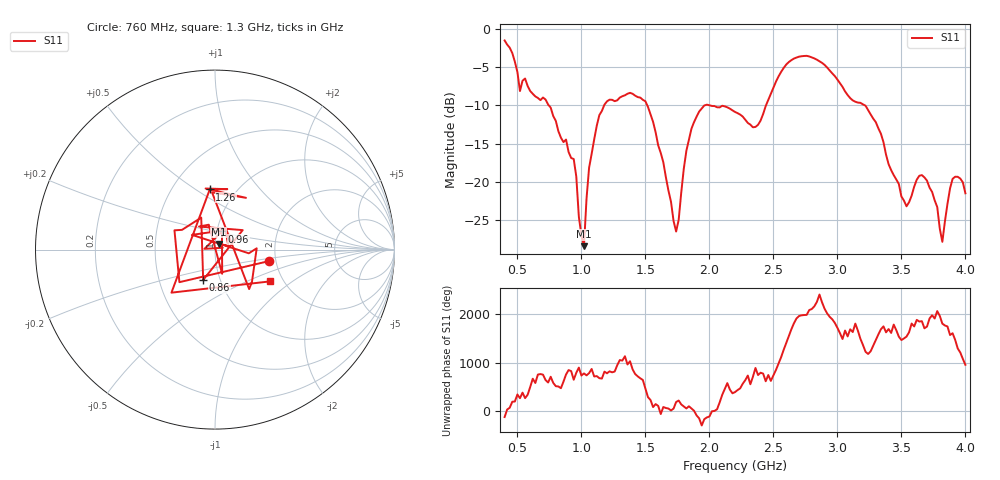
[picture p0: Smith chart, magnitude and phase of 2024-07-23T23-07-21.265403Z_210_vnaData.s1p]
!Created with skrf (http://scikit-rf.org).
# Hz S RI R 50.0
!freq ReS11 ImS11
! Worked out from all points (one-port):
!   181 points, 400 MHz to 4 GHz, reference 50 ohm
!   lowest |S11| = -28.5 dB at 1.02 GHz (marker M1), VSWR 1.08, Z = 52 + j3.28 ohm
!   |S11| at or under -10 dB: 1.514 GHz to 1.964 GHz (449.1 MHz wide, 25.8 % of centre); 2.002 GHz to 2.442 GHz (439.9 MHz wide, 19.8 % of centre); 3.214 GHz to end of sweep (the widest 3 of 4)
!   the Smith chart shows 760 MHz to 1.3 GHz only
!   S11 on the Smith chart (normalised r, x): 760 MHz: 1.83, -0.26; 860 MHz: 0.83, -0.29; 960 MHz: 1.06, +0.22; 1.26 GHz: 0.76, +0.57; 1.3 GHz: 1.71, -0.69
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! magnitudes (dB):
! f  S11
! 400 MHz  -1.5
! 520 MHz  -8.1
! 760 MHz  -10.3
! 860 MHz  -14.8
! 960 MHz  -19.3
! 980 MHz  -24.6
! 1.02 GHz  -28.5
! 1.06 GHz  -18.2
! 1.12 GHz  -12.7
! 1.26 GHz  -9.5
! 1.3 GHz  -9.0
! 1.5 GHz  -9.5
! 1.74 GHz  -26.5
! 1.76 GHz  -25.0
! 1.82 GHz  -16.0
! 1.92 GHz  -10.8
! 2.2 GHz  -10.9
! 2.38 GHz  -12.6
! 2.66 GHz  -3.9
! 2.88 GHz  -4.4
! 3.1 GHz  -9.1
! 3.3 GHz  -12.2
! 3.56 GHz  -22.7
! 3.68 GHz  -19.4
! 3.78 GHz  -23.3
! 3.82 GHz  -27.9
! 3.9 GHz  -19.6
! 4 GHz  -21.5
